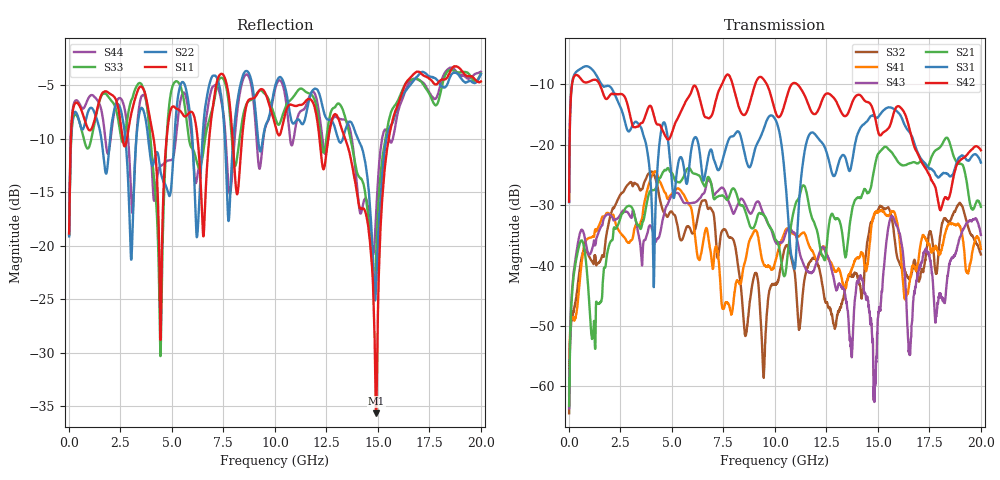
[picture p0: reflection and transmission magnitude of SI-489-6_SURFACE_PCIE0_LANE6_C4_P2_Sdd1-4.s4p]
! S11 = S11
! S12 = S12
! S13 = S13
! S14 = S14
! S21 = S21
! S22 = S22
! S23 = S23
! S24 = S24
! S31 = S31
! S32 = S32
! S33 = S33
! S34 = S34
! S41 = S41
! S42 = S42
! S43 = S43
! S44 = S44
! FILE: E:\Projects\06_2015\060415_VNA_EOS_MUX_EVAL\SI-481-1_EOS_MUX_EVAL_A0_B0_SEL=1.s4p
!$DUT_CFG_DESC: Default 4-Port Configuration
!$NUMBER_PORTS: 4
!$DIFF_PORT_MAP: 1|2P|2|2P|0|UC|0|UC|
!$PORT_MAP: 1|1|<<<<<<|2|2|>>>>>>|3|3|<<<<<<|4|4|>>>>>>|
# MHz S RI R 50.00
! FREQ  S11  S12  S13  S14
!  S21  S22  S23  S24
!  S31  S32  S33  S34
!  S41  S42  S43  S44
!  REAL  IMAG  REAL  IMAG  REAL  IMAG  REAL  IMAG
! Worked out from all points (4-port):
!   2000 points, 10 MHz to 20 GHz, reference 50 ohm
!   strongest paths, dB at 10 MHz, 5.01 GHz, 10.01 GHz, 15.01 GHz, 20 GHz:
!     S42: -29.4, -17.9, -14.4, -17.8, -20.9
!     S31: -29.5, -26.7, -15.7, -15.4, -22.9
!     S21: -63.3, -24.7, -35.6, -21.5, -30.3
!     S43: -63.7, -28.4, -35.9, -48.6, -34.9
!     S41: -61.5, -28.1, -39.4, -31.1, -37.3
!     S32: -64.5, -31.1, -43.1, -30.8, -38.2
!   lowest |S11| = -35.6 dB at 14.92 GHz (marker M1), VSWR 1.03, Z = 50.7 - j1.53 ohm
!   |S11| at or under -10 dB: 4.117 GHz to 4.741 GHz (624.3 MHz wide, 14.1 % of centre); 6.25 GHz to 6.81 GHz (559.9 MHz wide, 8.57 % of centre); 13.41 GHz to 15.52 GHz (2.108 GHz wide, 14.6 % of centre)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
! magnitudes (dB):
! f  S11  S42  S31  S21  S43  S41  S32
! 10 MHz  -18.8  -29.4  -29.5  -63.3  -63.7  -61.5  -64.5
! 590 MHz  -7.2  -9.1  -7.3  -35.9  -34.2  -40.3  -39.2
! 6.79 GHz  -10.4  -15.6  -21.7  -25.4  -25.8  -35.9  -30.6
! 9.45 GHz  -5.4  -9.1  -17.4  -31.6  -31.5  -39.7  -57.7
! 10.92 GHz  -6.9  -9.7  -40.2  -30.9  -34.6  -34.8  -40.5
! 14.92 GHz  -35.6  -16.4  -15.6  -22.4  -56.0  -31.1  -31.1
! 20 GHz  -4.6  -20.9  -22.9  -30.3  -34.9  -37.3  -38.2
